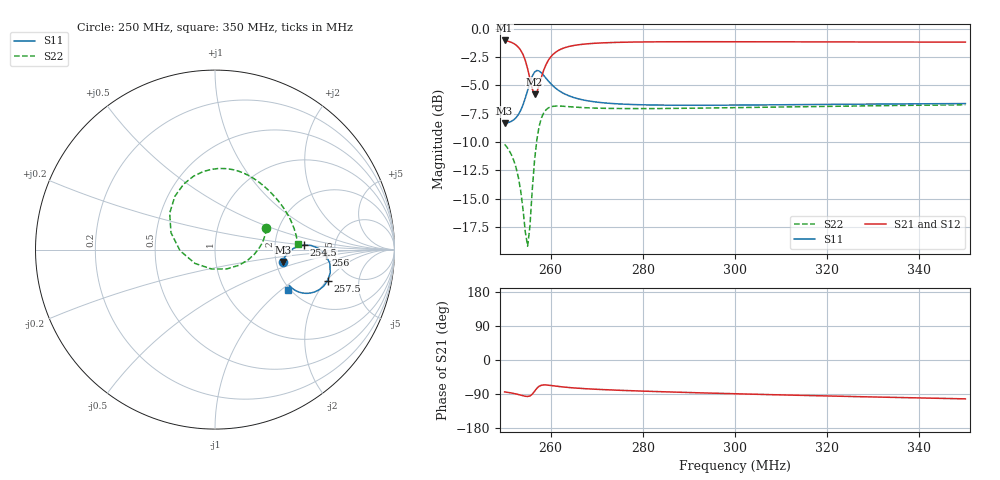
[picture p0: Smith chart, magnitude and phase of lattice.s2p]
! Created Thu Nov 16 15:10:11 2023
# hz S ma R 50
! 2 Port Network Data from SP1.SP block
! freq  magS11  angS11  magS21  angS21  magS12  angS12  magS22  angS22
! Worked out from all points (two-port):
!   201 points, 250 MHz to 350 MHz, reference 50 ohm
!   highest |S21| = -1.03 dB at 250 MHz (marker M1); lowest = -5.8 dB at 256.5 MHz (marker M2)
!   |S21| within 3 dB of the highest: start of sweep to 255.3 MHz; 258.2 MHz to end of sweep
!   lowest |S11| = -8.3 dB at 250 MHz (marker M3), VSWR 2.24, Z = 109 - j17.4 ohm
!   |S11| at or under -10 dB: nowhere
!   |S22| runs from -19.2 to -6.7 dB; largest |S21 - S12| = 0.0093
!   S11 on the Smith chart (normalised r, x): 250 MHz: 2.17, -0.35; 254.5 MHz: 2.95, +0.20; 256 MHz: 4.19, -0.39; 257.5 MHz: 3.43, -2.05; 350 MHz: 1.95, -1.13
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2.5e8  0.383 -10.3  0.8885 -84.1  0.893 -83.8  0.3092 22.6
2.525e8  0.4058 -2.8  0.8473 -89.6  0.8541 -89.3  0.2432 1.0
2.535e8  0.4369 0.8  0.804 -92.8  0.812 -92.5  0.1924 -17.6
2.545e8  0.4952 2.9  0.7239 -95.8  0.733 -95.7  0.1264 -58.4
2.55e8  0.5353 2.5  0.666 -96.3  0.6752 -96.3  0.1099 -99.4
2.555e8  0.5784 0.6  0.601 -94.9  0.6096 -95.2  0.1351 -145.0
2.56e8  0.6177 -2.7  0.5427 -90.3  0.5493 -90.9  0.1947 -178.0
2.565e8  0.6445 -6.9  0.5141 -82.6  0.5174 -83.4  0.263 158.9
2.57e8  0.6549 -11.3  0.5256 -74.7  0.5252 -75.5  0.3242 141.2
2.575e8  0.6515 -15.3  0.5646 -69.3  0.5617 -69.9  0.3717 127.0
2.58e8  0.6388 -18.6  0.6127 -66.6  0.6086 -67.0  0.4047 115.5
2.59e8  0.6044 -22.9  0.696 -65.9  0.6914 -66.0  0.4396 98.7
2.6e8  0.5731 -25.1  0.7513 -67.2  0.7471 -67.1  0.4523 87.5
2.615e8  0.5388 -26.5  0.7989 -69.6  0.7957 -69.4  0.4564 76.4
2.64e8  0.5057 -27.0  0.836 -72.7  0.8338 -72.5  0.4534 65.6
2.67e8  0.4856 -26.7  0.8551 -75.3  0.8538 -75.1  0.4491 57.8
2.735e8  0.4679 -26.1  0.8704 -79.2  0.87 -79.0  0.4452 47.9
2.835e8  0.4606 -25.7  0.8764 -83.5  0.8766 -83.2  0.4449 38.3
3e8  0.4606 -25.9  0.8771 -89.1  0.8777 -88.9  0.4489 27.2
3.17e8  0.4635 -26.7  0.8756 -94.1  0.8762 -93.9  0.4541 18.0
3.335e8  0.466 -27.7  0.8743 -98.5  0.8747 -98.2  0.4586 10.4
3.5e8  0.4679 -29.0  0.8734 -102.6  0.8739 -102.3  0.462 3.6
